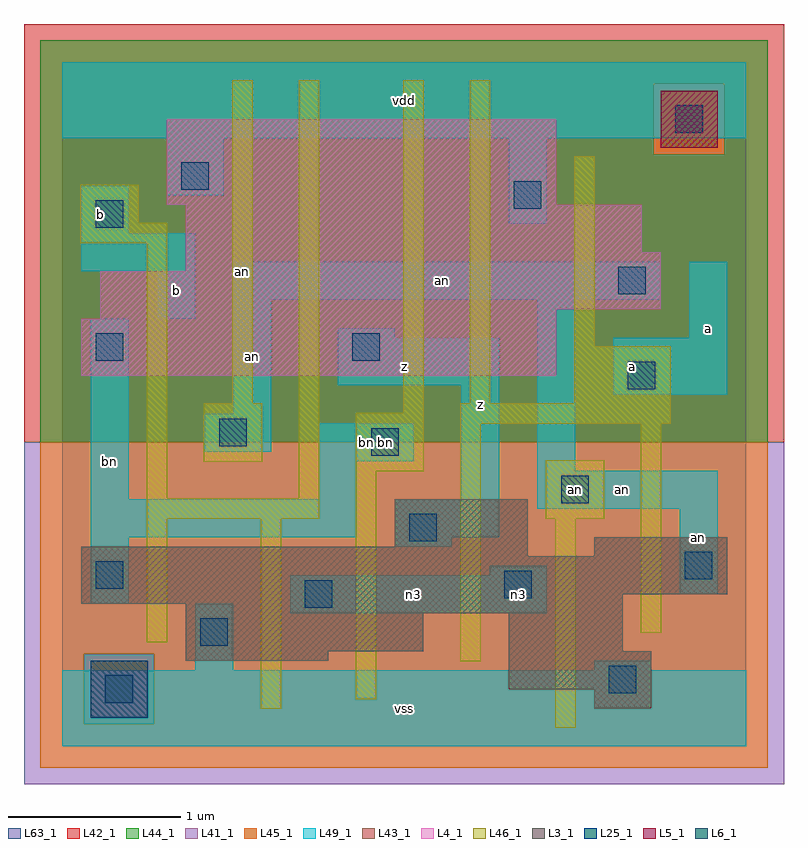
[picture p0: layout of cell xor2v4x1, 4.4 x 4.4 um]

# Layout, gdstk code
import gdstk
lib = gdstk.Library(unit=1e-6, precision=1e-09)
def R(c, l, rs):  # rectangles x0, y0, x1, y1
    for r in rs: c.add(gdstk.rectangle(r[:2], r[2:], *l))
L3_1 = (3, 1)
L4_1 = (4, 1)
L5_1 = (5, 1)
L6_1 = (6, 1)
L25_1 = (25, 1)
L41_1 = (41, 1)
L42_1 = (42, 1)
L43_1 = (43, 1)
L44_1 = (44, 1)
L45_1 = (45, 1)
L46_1 = (46, 1)
L49_1 = (49, 1)
L63_1 = (63, 1)

xor2v4x1 = lib.new_cell('xor2v4x1')
R(xor2v4x1, L3_1, [(3.08,0.22,3.41,0.33), (2.585,0.33,3.41,0.55), (0.715,0.495,1.54,0.55), (0.715,0.55,2.09,0.77), (2.585,0.55,3.245,0.77), (0.715,0.77,3.245,0.825), (0.11,0.825,3.245,0.88), (0.11,0.88,3.85,1.1), (0.11,1.1,2.695,1.155), (3.08,1.1,3.85,1.21), (1.925,1.155,2.695,1.43)])
R(xor2v4x1, L4_1, [(0.11,2.145,2.86,2.475), (0.22,2.475,2.86,2.53), (0.22,2.53,3.465,2.75), (0.715,2.75,3.465,2.86), (0.715,2.86,3.355,3.135), (0.605,3.135,2.86,3.63)])
R(xor2v4x1, L5_1, [(3.465,3.465,3.795,3.795)])
R(xor2v4x1, L6_1, [(0.165,0.165,0.495,0.495)])
R(xor2v4x1, L25_1, [(0.25,0.25,0.41,0.41), (3.165,0.305,3.325,0.465), (0.8,0.58,0.96,0.74), (1.405,0.8,1.565,0.96), (2.56,0.855,2.72,1.015), (0.195,0.91,0.355,1.07), (3.605,0.965,3.765,1.125), (2.01,1.185,2.17,1.345), (2.89,1.405,3.05,1.565), (1.79,1.68,1.95,1.84), (0.91,1.735,1.07,1.895), (3.275,2.065,3.435,2.225), (0.195,2.23,0.355,2.39), (1.68,2.23,1.84,2.39), (3.22,2.615,3.38,2.775), (0.195,3,0.355,3.16), (2.615,3.11,2.775,3.27), (0.69,3.22,0.85,3.38), (3.55,3.55,3.71,3.71)])
R(xor2v4x1, L41_1, [(-0.22,-0.22,4.18,1.76)])
R(xor2v4x1, L42_1, [(-0.22,1.76,4.18,4.18)])
R(xor2v4x1, L43_1, [(0.165,0.165,0.495,0.495), (3.08,0.22,3.41,0.33), (2.585,0.33,3.41,0.55), (0.715,0.495,1.54,0.55), (0.715,0.55,2.09,0.77), (2.585,0.55,3.245,0.77), (0.715,0.77,3.245,0.825), (0.11,0.825,3.245,0.88), (0.11,0.88,3.85,1.1), (0.11,1.1,2.695,1.155), (3.08,1.1,3.85,1.21), (1.925,1.155,2.695,1.43), (0.11,2.145,2.86,2.475), (0.22,2.475,2.86,2.53), (0.22,2.53,3.465,2.75), (0.715,2.75,3.465,2.86), (0.715,2.86,3.355,3.135), (0.605,3.135,2.86,3.63), (3.465,3.465,3.795,3.795)])
R(xor2v4x1, L44_1, [(0.125,0.125,0.535,0.535), (-0.125,1.76,4.085,3.425), (-0.125,3.425,3.425,3.835), (3.835,3.425,4.085,3.835), (-0.125,3.835,4.085,4.085)])
R(xor2v4x1, L45_1, [(-0.125,-0.125,4.085,0.125), (-0.125,0.125,0.125,0.535), (0.535,0.125,4.085,0.535), (-0.125,0.535,4.085,1.76), (3.425,3.425,3.835,3.835)])
R(xor2v4x1, L46_1, [(2.855,0.105,2.975,1.315), (1.15,0.215,1.27,1.315), (1.7,0.27,1.82,1.59), (2.305,0.49,2.425,1.865), (0.49,0.6,0.61,1.315), (3.35,0.655,3.47,1.865), (0.49,1.315,1.49,1.435), (2.8,1.315,3.14,1.655), (0.49,1.435,0.61,2.91), (1.37,1.435,1.49,3.855), (1.7,1.59,2.095,1.93), (0.82,1.645,1.16,1.985), (2.305,1.865,3.525,1.985), (1.975,1.93,2.095,3.855), (0.985,1.985,1.105,3.855), (2.36,1.985,2.48,3.855), (2.965,1.985,3.525,2.315), (2.965,2.315,3.085,3.415), (0.105,2.91,0.61,3.03), (0.105,3.03,0.445,3.25)])
R(xor2v4x1, L49_1, [(0,0,3.96,0.44), (0.77,0.44,0.99,0.825), (3.08,0.44,3.41,0.495), (1.32,0.77,2.805,0.99), (0.165,0.825,0.385,1.21), (3.575,0.88,3.795,1.375), (2.475,0.99,2.805,1.045), (1.925,1.155,2.255,1.21), (0.165,1.21,1.705,1.43), (1.925,1.21,2.53,1.43), (2.75,1.375,3.795,1.595), (0.165,1.43,0.385,2.475), (1.485,1.43,1.705,1.65), (2.31,1.43,2.53,2.09), (2.75,1.595,2.97,2.585), (1.485,1.65,2.035,1.87), (0.825,1.705,1.21,1.925), (0.99,1.925,1.21,2.585), (3.19,2.035,3.85,2.365), (1.595,2.09,2.53,2.365), (1.595,2.365,1.925,2.42), (3.63,2.365,3.85,2.805), (0.55,2.475,0.77,2.75), (0.99,2.585,3.465,2.805), (0.11,2.75,0.77,2.97), (0.11,2.97,0.385,3.245), (2.585,3.025,2.805,3.52), (0.605,3.19,0.935,3.52), (0,3.52,3.96,3.96)])
R(xor2v4x1, L63_1, [(0,0,3.96,3.96)])
xor2v4x1.add(gdstk.Label('an', (1.045,2.75), layer=46, texttype=1))
xor2v4x1.add(gdstk.Label('bn', (1.87,1.76), layer=49, texttype=1))
xor2v4x1.add(gdstk.Label('an', (2.97,1.485), layer=49, texttype=1))
xor2v4x1.add(gdstk.Label('bn', (0.275,1.65), layer=49, texttype=1))
xor2v4x1.add(gdstk.Label('b', (0.66,2.64), layer=49, texttype=1))
xor2v4x1.add(gdstk.Label('b', (0.22,3.08), layer=49, texttype=1))
xor2v4x1.add(gdstk.Label('an', (1.1,2.255), layer=49, texttype=1))
xor2v4x1.add(gdstk.Label('vss', (1.98,0.22), layer=49, texttype=1))
xor2v4x1.add(gdstk.Label('n3', (2.64,0.88), layer=49, texttype=1))
xor2v4x1.add(gdstk.Label('n3', (2.035,0.88), layer=49, texttype=1))
xor2v4x1.add(gdstk.Label('bn', (1.76,1.76), layer=49, texttype=1))
xor2v4x1.add(gdstk.Label('z', (2.42,1.98), layer=49, texttype=1))
xor2v4x1.add(gdstk.Label('z', (1.98,2.2), layer=49, texttype=1))
xor2v4x1.add(gdstk.Label('vdd', (1.98,3.74), layer=49, texttype=1))
xor2v4x1.add(gdstk.Label('an', (3.685,1.21), layer=49, texttype=1))
xor2v4x1.add(gdstk.Label('an', (3.245,1.485), layer=49, texttype=1))
xor2v4x1.add(gdstk.Label('a', (3.3,2.2), layer=49, texttype=1))
xor2v4x1.add(gdstk.Label('an', (2.2,2.695), layer=49, texttype=1))
xor2v4x1.add(gdstk.Label('a', (3.74,2.42), layer=49, texttype=1))

lib.write_gds('xor2v4x1.gds')
